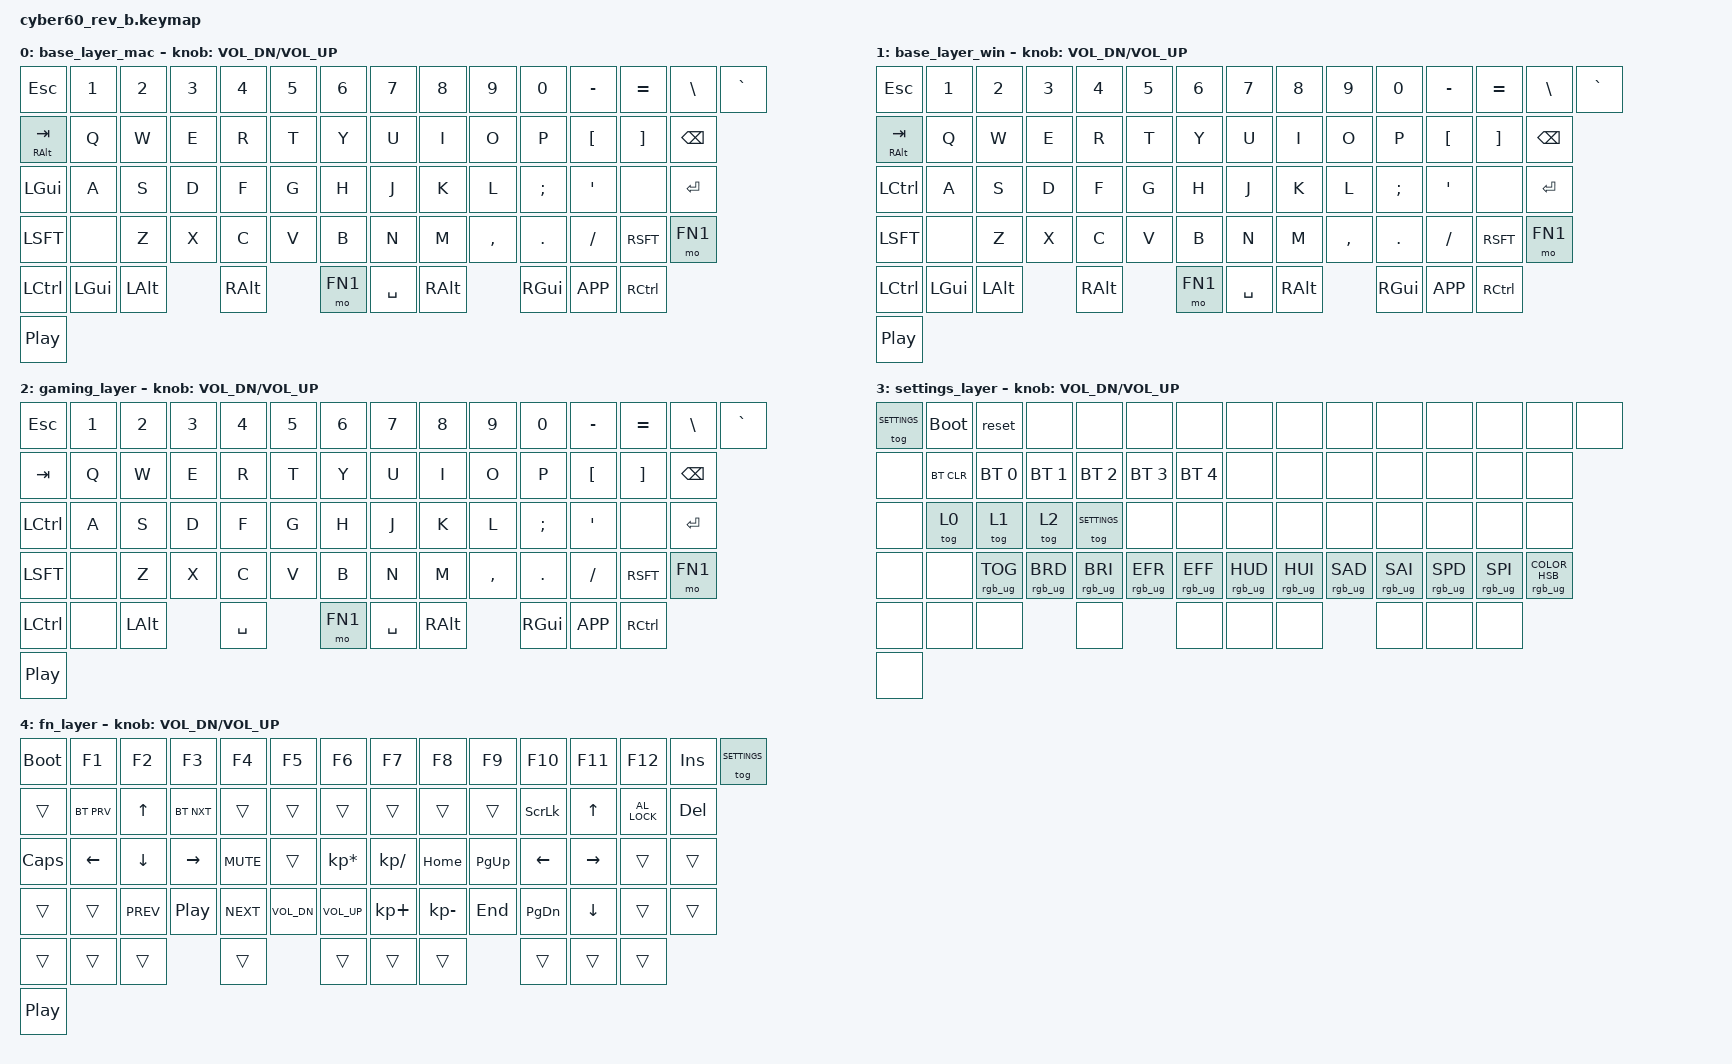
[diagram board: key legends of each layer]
#include <behaviors.dtsi>
#include <dt-bindings/zmk/keys.h>
#include <dt-bindings/zmk/bt.h>
#include <dt-bindings/zmk/outputs.h>
#include <dt-bindings/zmk/rgb.h>
#include <dt-bindings/zmk/ext_power.h>

#define FN1 4
#define SETTINGS 3
/ {
	keymap {
		compatible = "zmk,keymap";
		base_layer_mac {
// Base layer with gui at backspace position
// ------------------------------------------------------------------------------------------
// | ESC |  1  |  2  |  3  |  4  |  5  |  6  |  7  |  8  |  9  |  0  |  -  |  =  | "|" |  ~ |
// |RALT/TAB| Q |  W  |  E  |  R  |  T  |  Y  |  U  |  I  |  O  |  P  |  [  |  ]  |   BKSP  |
// | LGUI  |  A  |  S  |  D  |  F  |  G  |  H  |  J  |  K  |  L  |  ;  |  '  |none|  ENTER  |
// | SHIFT |none| Z |  X  |  C  |  V  |  B  |  N  |  M  |  ,  |  .  |  /  |    Shift   | FN |
// |  LCTL  |  LWIN  |  LALT  |  RALT  | FN |     SPACE     |  RALT |  RWIN | RMENU | RCTRL |
// | Rotary | (<-- Rotary switch) ----------------------------------------------------------- 
			bindings = <
	&kp ESC		 &kp NUM_1 	&kp NUM_2	&kp NUM_3 	&kp NUM_4 &kp NUM_5 &kp NUM_6 	&kp NUM_7 	&kp NUM_8 &kp NUM_9	&kp NUM_0	&kp MINUS	&kp EQL  	&kp BSLH	&kp GRAV
	&mt RALT TAB &kp   Q   	&kp   W   	&kp   E   	&kp   R   &kp   T   &kp   Y   	&kp   U   	&kp   I   &kp   O   &kp   P   	&kp LBKT 	&kp RBKT	&kp BKSP
	&kp LGUI 	 &kp   A   	&kp   S   	&kp   D   	&kp   F   &kp   G   &kp   H   	&kp   J   	&kp   K   &kp   L   &kp  SCLN  	&kp  QUOT   &none		&kp RET
	&kp LSFT 	 &none		&kp   Z   	&kp   X   	&kp   C   &kp   V   &kp   B   	&kp   N   	&kp   M   &kp  CMMA &kp  DOT  	&kp  FSLH	&kp RSFT 	&mo FN1
	&kp LCTL 	 &kp LGUI   &kp LALT				&kp RALT			&mo FN1		&kp  SPC  	&kp  RALT			&kp  RGUI 	&kp K_APP	&kp  RCTL	
	&kp C_PP	
			>;
			sensor-bindings = <&inc_dec_kp C_VOL_DN C_VOL_UP>;
		};
		base_layer_win {
// Base layer with ctrl at backspace position
// ------------------------------------------------------------------------------------------
// | ESC |  1  |  2  |  3  |  4  |  5  |  6  |  7  |  8  |  9  |  0  |  -  |  =  | "|" |  ~ |
// |RALT/TAB| Q |  W  |  E  |  R  |  T  |  Y  |  U  |  I  |  O  |  P  |  [  |  ]  |   BKSP  |
// | LCTL  |  A  |  S  |  D  |  F  |  G  |  H  |  J  |  K  |  L  |  ;  |  '  |none|  ENTER  |
// | SHIFT |none| Z |  X  |  C  |  V  |  B  |  N  |  M  |  ,  |  .  |  /  |    Shift   | FN |
// |  LCTL  |  LWIN  |  LALT  |  RALT  | FN |     SPACE     |  RALT |  RWIN | RMENU | RCTRL |
// | Rotary | (<-- Rotary switch) ----------------------------------------------------------- 
				bindings = <
	&kp ESC		 &kp NUM_1 	&kp NUM_2	&kp NUM_3 	&kp NUM_4 &kp NUM_5 &kp NUM_6 	&kp NUM_7 	&kp NUM_8 &kp NUM_9	&kp NUM_0	&kp MINUS	&kp EQL  	&kp BSLH	&kp GRAV
	&mt RALT TAB &kp   Q   	&kp   W   	&kp   E   	&kp   R   &kp   T   &kp   Y   	&kp   U   	&kp   I   &kp   O   &kp   P   	&kp LBKT 	&kp RBKT	&kp BKSP
	&kp LCTL 	 &kp   A   	&kp   S   	&kp   D   	&kp   F   &kp   G   &kp   H   	&kp   J   	&kp   K   &kp   L   &kp  SCLN  	&kp  QUOT   &none		&kp RET
	&kp LSFT 	 &none		&kp   Z   	&kp   X   	&kp   C   &kp   V   &kp   B   	&kp   N   	&kp   M   &kp  CMMA &kp  DOT  	&kp  FSLH	&kp RSFT 	&mo FN1
	&kp LCTL 	 &kp LGUI   &kp   LALT				&kp RALT			&mo FN1		&kp  SPC  	&kp  RALT			&kp  RGUI 	&kp K_APP	&kp  RCTL		
	&kp C_PP
			>;
			sensor-bindings = <&inc_dec_kp C_VOL_DN C_VOL_UP>;
		};
		gaming_layer {
// Gaming layer with regular space and no gui
// ------------------------------------------------------------------------------------------
// | ESC |  1  |  2  |  3  |  4  |  5  |  6  |  7  |  8  |  9  |  0  |  -  |  =  | "|" |  ~ |
// |  TAB |  Q  |  W  |  E  |  R  |  T  |  Y  |  U  |  I  |  O  |  P  |  [  |  ]  |   BKSP  |
// | LCTL  |  A  |  S  |  D  |  F  |  G  |  H  |  J  |  K  |  L  |  ;  |  '  |none| ENTER   |
// | SHIFT |none| Z |  X  |  C  |  V  |  B  |  N  |  M  |  ,  |  .  |  /  |    Shift   | FN |
// |  LCTL  |  NONE  |  LALT  | SPACE  | FN |     SPACE     |  RALT |  RWIN | RMENU | RCTRL |
// | Rotary | (<-- Rotary switch) ----------------------------------------------------------- 
				bindings = <
	&kp ESC		 &kp NUM_1 	&kp NUM_2	&kp NUM_3 	&kp NUM_4 &kp NUM_5 &kp NUM_6 	&kp NUM_7 	&kp NUM_8 &kp NUM_9	&kp NUM_0	&kp MINUS	&kp EQL  	&kp BSLH	&kp GRAV
	&kp TAB 	 &kp   Q   	&kp   W   	&kp   E   	&kp   R   &kp   T   &kp   Y   	&kp   U   	&kp   I   &kp   O   &kp   P   	&kp LBKT 	&kp RBKT	&kp BKSP
	&kp LCTL 	 &kp   A   	&kp   S   	&kp   D   	&kp   F   &kp   G   &kp   H   	&kp   J   	&kp   K   &kp   L   &kp  SCLN  	&kp  QUOT   &none		&kp RET
	&kp LSFT 	 &none		&kp   Z   	&kp   X   	&kp   C   &kp   V   &kp   B   	&kp   N   	&kp   M   &kp  CMMA &kp  DOT  	&kp  FSLH	&kp RSFT 	&mo FN1
	&kp LCTL 	 &none   	&kp   LALT				&kp SPC		&mo FN1		&kp  SPC  	&kp  RALT			&kp  RGUI 	&kp K_APP	&kp  RCTL	
	&kp C_PP	
			>;
			sensor-bindings = <&inc_dec_kp C_VOL_DN C_VOL_UP>;
		};
		settings_layer {
// Settings layer to change keyboard behaviour
// ------------------------------------------------------------------------------------------
// | EXIT|BOOTL| RST | USB | BLE | NON | NON | NON | NON | NON | NON | NON | NON | NON |NON |
// | NON  |BTCLR| BT0 | BT1 | BT2 | BT3 | BT4 | NON | NON | NON | NON | NON | NON |   NON   |
// |  NON  | TOG0| TOG1| TOG2| TOG3| NON | NON | NON | NON | NON | NON | NON | NON |  NON   |
// |  NON | NON |NON| NON | NON | NON | NON | NON | NON | NON | NON | NON |    NON    | NON |
// |   NON  |  NON   |  NON   |   NON  | NON |    NON       |  NON  |  NON  |  NON  |  NON  |
// | Rotary | (<-- Rotary switch) ----------------------------------------------------------- 
				bindings = <
	&tog SETTINGS		&bootloader 	&reset			&none			&none	&none 	&none 	&none 		&none	&none	&none			&none			&none  			&none			&none
	&none 	&bt BT_CLR  &bt BT_SEL 0  	&bt BT_SEL 1   	&bt BT_SEL 2	&bt BT_SEL 3   	&bt BT_SEL 4   		&none	&none   &none			&none   		&none			&none			&none
	&none	&tog 0   	&tog 1   		&tog 2   		&tog SETTINGS   &none   		&none   			&none   &none	&none   		&none			&none			&none   		&none
	&none	&none		&rgb_ug RGB_TOG &rgb_ug RGB_BRD	&rgb_ug RGB_BRI &rgb_ug RGB_EFR &rgb_ug  RGB_EFF	&rgb_ug RGB_HUD	&rgb_ug RGB_HUI	&rgb_ug RGB_SAD	&rgb_ug RGB_SAI	&rgb_ug RGB_SPD	&rgb_ug RGB_SPI	&rgb_ug RGB_COLOR_HSB(128,100,100)
	&none	&none    	&none							&none			&none			&none  			&none			&none 	&none	&none	
	&none	
			>;
			sensor-bindings = <&inc_dec_kp C_VOL_DN C_VOL_UP>;
		};
		fn_layer {
// Function layer
// ------------------------------------------------------------------------------------------
// | BOOT |  F1 |  F2 |  F3 |  F4 |  F5 |  F6 |  F7 |  F8 |  F9 | F10 | F11 | F12 |INS | RST|
// | TAB  |BTPRV|  UP |BTNXT| TOG0| TOG1| TOG2| BT3 | BT4 | PRNT| SLCKL | UP  | LOCK |  DEL |
// | CAPS  |LEFT |DOWN |RIGHT|MUTE |  G  |  *  |  /  | HOME| PGUP| LEFT|RIGHT|none|  ENTER  |
// | SHIFT |none|PRV|PLAYP|NEXT | VOLD| VOLU|  +  |  -  | END | PGDN| DOWN|    Shift   | FN |
// |  LCTL  |  LGUI  |  LWIN  |  RALT  | FN |     SPACE     |  RALT |  RWIN | RMENU | RCTRL |
// | Rotary | (<-- Rotary switch) ----------------------------------------------------------- 
			bindings = <
	&bootloader 	&kp F1		&kp F2 	 		&kp F3			&kp F4			&kp F5			&kp F6			&kp F7			&kp F8			&kp F9			&kp F10		&kp F11		&kp F12			&kp INS	&tog SETTINGS
	&trans			&bt BT_PRV  &kp UP   		&bt BT_NXT		&trans			&trans			&trans			&trans			&trans			&trans			&kp SLCK	&kp UP		&kp C_AL_LOCK	&kp DEL
	&kp CLCK 		&kp LEFT   	&kp DOWN		&kp RIGHT		&kp K_MUTE		&trans			&kp KP_ASTERISK	&kp KP_SLASH	&kp HOME		&kp PG_UP		&kp LEFT	&kp RIGHT	&trans		&trans
	&trans 			&trans   	&kp C_PREV   	&kp C_PP	 	&kp C_NEXT 		&kp C_VOL_DN	&kp C_VOL_UP	&kp KP_PLUS		&kp KP_MINUS	&kp END			&kp PG_DN	&kp DOWN	&trans 		&trans
	&trans 			&trans   	&trans             				&trans			&trans			&trans  		&trans  		&trans			&trans			&trans		
	&kp C_PP
			>;
			sensor-bindings = <&inc_dec_kp C_VOL_DN C_VOL_UP>;
		};
	};
};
